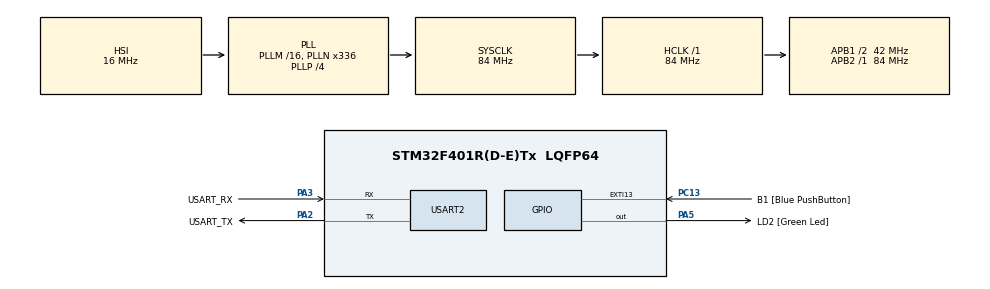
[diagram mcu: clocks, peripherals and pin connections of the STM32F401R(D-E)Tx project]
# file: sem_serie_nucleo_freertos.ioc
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FREERTOS.Tasks01=defaultTask,24,128,StartDefaultTask,Default,NULL,Dynamic,NULL,NULL
FREERTOS.configENABLE_FPU=0
Mcu.Family=STM32F4
Mcu.Name=STM32F401R(D-E)Tx
Mcu.Package=LQFP64
NVIC.PriorityGroup=NVIC_PRIORITYGROUP_4
NVIC.TIM1_UP_TIM10_IRQn=true\:0\:0\:false\:false\:true\:false\:false\:true
NVIC.TimeBase=TIM1_UP_TIM10_IRQn
NVIC.TimeBaseIP=TIM1
NVIC.USART2_IRQn=true\:6\:0\:true\:false\:true\:false\:true\:true
PA13.GPIO_Label=TMS
PA13.Mode=Serial_Wire
PA13.Signal=SYS_JTMS-SWDIO
PA14.GPIO_Label=TCK
PA14.Mode=Serial_Wire
PA14.Signal=SYS_JTCK-SWCLK
PA2.GPIO_Label=USART_TX
PA2.GPIO_Mode=GPIO_MODE_AF_PP
PA2.GPIO_PuPd=GPIO_NOPULL
PA2.GPIO_Speed=GPIO_SPEED_FREQ_LOW
PA2.Mode=Asynchronous
PA2.Signal=USART2_TX
PA3.GPIO_Label=USART_RX
PA3.GPIO_Mode=GPIO_MODE_AF_PP
PA3.GPIO_PuPd=GPIO_NOPULL
PA3.GPIO_Speed=GPIO_SPEED_FREQ_LOW
PA3.Mode=Asynchronous
PA3.Signal=USART2_RX
PA5.GPIO_Label=LD2 [Green Led]
PA5.GPIO_Mode=GPIO_MODE_OUTPUT_PP
PA5.GPIO_PuPd=GPIO_NOPULL
PA5.GPIO_Speed=GPIO_SPEED_FREQ_LOW
PA5.Signal=GPIO_Output
PB3.GPIO_Label=SWO
PB3.Signal=SYS_JTDO-SWO
PC13-ANTI_TAMP.GPIO_Label=B1 [Blue PushButton]
PC13-ANTI_TAMP.GPIO_ModeDefaultEXTI=GPIO_MODE_IT_FALLING
PC13-ANTI_TAMP.GPIO_PuPd=GPIO_NOPULL
PC13-ANTI_TAMP.Signal=GPXTI13
PC14-OSC32_IN.Mode=LSE-External-Oscillator
PC14-OSC32_IN.Signal=RCC_OSC32_IN
PC15-OSC32_OUT.Mode=LSE-External-Oscillator
PC15-OSC32_OUT.Signal=RCC_OSC32_OUT
PH0\ -\ OSC_IN.Mode=HSE-External-Clock-Source
PH0\ -\ OSC_IN.Signal=RCC_OSC_IN
PH1\ -\ OSC_OUT.Mode=HSE-External-Clock-Source
PH1\ -\ OSC_OUT.Signal=RCC_OSC_OUT
ProjectManager.HeapSize=0x200
ProjectManager.StackSize=0x400
ProjectManager.TargetToolchain=STM32CubeIDE
RCC.48MHZClocksFreq_Value=48000000
RCC.AHBFreq_Value=84000000
RCC.APB1CLKDivider=RCC_HCLK_DIV2
RCC.APB1Freq_Value=42000000
RCC.APB1TimFreq_Value=84000000
RCC.APB2Freq_Value=84000000
RCC.APB2TimFreq_Value=84000000
RCC.CortexFreq_Value=84000000
RCC.HCLKFreq_Value=84000000
RCC.HSE_VALUE=8000000
RCC.HSI_VALUE=16000000
RCC.PLLN=336
RCC.PLLP=RCC_PLLP_DIV4
RCC.PLLQ=7
RCC.SYSCLKFreq_VALUE=84000000
RCC.SYSCLKSource=RCC_SYSCLKSOURCE_PLLCLK
RCC.VCOOutputFreq_Value=336000000
USART2.VirtualMode=VM_ASYNC
VP_FREERTOS_VS_CMSIS_V2.Mode=CMSIS_V2
VP_SYS_VS_tim1.Mode=TIM1
board=NUCLEO-F401RE

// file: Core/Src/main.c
/* USER CODE BEGIN Header */
/**
  ******************************************************************************
  * @file           : main.c
  * @brief          : Main program body
  ******************************************************************************
  * @attention
  *
  * <h2><center>&copy; Copyright (c) 2021 STMicroelectronics.
  * All rights reserved.</center></h2>
  *
  * This software component is licensed by ST under BSD 3-Clause license,
  * the "License"; You may not use this file except in compliance with the
  * License. You may obtain a copy of the License at:
  *                        opensource.org/licenses/BSD-3-Clause
  *
  ******************************************************************************
  */
/* USER CODE END Header */
#include "main.h"
#include "cmsis_os.h"

/* USER CODE BEGIN Includes */
#include <ctype.h>
#include <stdio.h>
#include <string.h>
#include "task.h"
#include "arrebote.h"
#include "serie_freertos.h"
/* USER CODE END Includes */

/* USER CODE BEGIN PD */
#define TICS_LEDS		(125)
#define DEBOUNCE_BTN_MS	(20)
#define FALSE			(0)
#define TRUE			(!FALSE)
/* USER CODE END PD */

UART_HandleTypeDef huart2;

/* Definitions for defaultTask */
//osThreadId_t defaultTaskHandle;
//const osThreadAttr_t defaultTask_attributes = {
//  .name = "defaultTask",
//  .priority = (osPriority_t) osPriorityNormal,
//  .stack_size = 128 * 4
//};
/* USER CODE BEGIN PV */
	arrebote boton_b1;
/* USER CODE END PV */

void SystemClock_Config(void);
static void MX_GPIO_Init(void);
static void MX_USART2_UART_Init(void);
void StartDefaultTask(void *argument);

/* USER CODE BEGIN 0 */
void tarea_boton(void *p)
{
	uint32_t estado_led = 1;
	uint32_t tics_led = TICS_LEDS;
	inicializar_arrebote(&boton_b1, TRUE, DEBOUNCE_BTN_MS);
	for(;;)
	{
		chequear_arrebote(&boton_b1, HAL_GPIO_ReadPin(B1_GPIO_Port, B1_Pin));
		if(hay_flanco_arrebote(&boton_b1))
		{
			estado_led^=1;
		}
		if(!--tics_led)
		{
			tics_led = TICS_LEDS;
			if(estado_led)
				HAL_GPIO_TogglePin(LD2_GPIO_Port, LD2_Pin);
		}
		vTaskDelay(1/portTICK_RATE_MS);
	}
}

void tarea_serie(void *p)
{
	uint8_t dato;
	for(;;)
	{
		serieFreeRTOS_gets(&dato, 1);
		dato = toupper(dato);
		serieFreeRTOS_puts(&dato, 1);
	}
}

/* USER CODE END 0 */

int main(void)
{

  /* MCU Configuration--------------------------------------------------------*/

  /* Reset of all peripherals, Initializes the Flash interface and the Systick. */
  HAL_Init();

  /* Configure the system clock */
  SystemClock_Config();

  /* Initialize all configured peripherals */
  MX_GPIO_Init();
  MX_USART2_UART_Init();

  /* Init scheduler */
  osKernelInitialize();

  /* Create the thread(s) */
  /* creation of defaultTask */
  //defaultTaskHandle = osThreadNew(StartDefaultTask, NULL, &defaultTask_attributes);

  /* USER CODE BEGIN RTOS_THREADS */
  /* add threads, ... */
  serieFreeRTOS_inicializar(&huart2);

  xTaskCreate(	tarea_boton,
		  	  	"btn_b1",
				configMINIMAL_STACK_SIZE,
				NULL,
				tskIDLE_PRIORITY+1,
				NULL);

  xTaskCreate(	tarea_serie,
		  	  	"serie",
				configMINIMAL_STACK_SIZE*2,
				NULL,
				tskIDLE_PRIORITY+1,
				NULL);

  /* USER CODE END RTOS_THREADS */

  /* Start scheduler */
  osKernelStart();

  /* We should never get here as control is now taken by the scheduler */
  /* Infinite loop */
  while (1)
  {

  }
}

void SystemClock_Config(void)
{
  RCC_OscInitTypeDef RCC_OscInitStruct = {0};
  RCC_ClkInitTypeDef RCC_ClkInitStruct = {0};

  /** Configure the main internal regulator output voltage
  */
  __HAL_RCC_PWR_CLK_ENABLE();
  __HAL_PWR_VOLTAGESCALING_CONFIG(PWR_REGULATOR_VOLTAGE_SCALE2);
  /** Initializes the RCC Oscillators according to the specified parameters
  * in the RCC_OscInitTypeDef structure.
  */
  RCC_OscInitStruct.OscillatorType = RCC_OSCILLATORTYPE_HSI;
  RCC_OscInitStruct.HSIState = RCC_HSI_ON;
  RCC_OscInitStruct.HSICalibrationValue = RCC_HSICALIBRATION_DEFAULT;
  RCC_OscInitStruct.PLL.PLLState = RCC_PLL_ON;
  RCC_OscInitStruct.PLL.PLLSource = RCC_PLLSOURCE_HSI;
  RCC_OscInitStruct.PLL.PLLM = 16;
  RCC_OscInitStruct.PLL.PLLN = 336;
  RCC_OscInitStruct.PLL.PLLP = RCC_PLLP_DIV4;
  RCC_OscInitStruct.PLL.PLLQ = 7;
  if (HAL_RCC_OscConfig(&RCC_OscInitStruct) != HAL_OK)
  {
    Error_Handler();
  }
  /** Initializes the CPU, AHB and APB buses clocks
  */
  RCC_ClkInitStruct.ClockType = RCC_CLOCKTYPE_HCLK|RCC_CLOCKTYPE_SYSCLK
                              |RCC_CLOCKTYPE_PCLK1|RCC_CLOCKTYPE_PCLK2;
  RCC_ClkInitStruct.SYSCLKSource = RCC_SYSCLKSOURCE_PLLCLK;
  RCC_ClkInitStruct.AHBCLKDivider = RCC_SYSCLK_DIV1;
  RCC_ClkInitStruct.APB1CLKDivider = RCC_HCLK_DIV2;
  RCC_ClkInitStruct.APB2CLKDivider = RCC_HCLK_DIV1;

  if (HAL_RCC_ClockConfig(&RCC_ClkInitStruct, FLASH_LATENCY_2) != HAL_OK)
  {
    Error_Handler();
  }
}

static void MX_USART2_UART_Init(void)
{

  huart2.Instance = USART2;
  huart2.Init.BaudRate = 4800;
  huart2.Init.WordLength = UART_WORDLENGTH_8B;
  huart2.Init.StopBits = UART_STOPBITS_1;
  huart2.Init.Parity = UART_PARITY_NONE;
  huart2.Init.Mode = UART_MODE_TX_RX;
  huart2.Init.HwFlowCtl = UART_HWCONTROL_NONE;
  huart2.Init.OverSampling = UART_OVERSAMPLING_16;
  if (HAL_UART_Init(&huart2) != HAL_OK)
  {
    Error_Handler();
  }

}

static void MX_GPIO_Init(void)
{
  GPIO_InitTypeDef GPIO_InitStruct = {0};

  /* GPIO Ports Clock Enable */
  __HAL_RCC_GPIOC_CLK_ENABLE();
  __HAL_RCC_GPIOH_CLK_ENABLE();
  __HAL_RCC_GPIOA_CLK_ENABLE();
  __HAL_RCC_GPIOB_CLK_ENABLE();

  /*Configure GPIO pin Output Level */
  HAL_GPIO_WritePin(LD2_GPIO_Port, LD2_Pin, GPIO_PIN_RESET);

  /*Configure GPIO pin : B1_Pin */
  GPIO_InitStruct.Pin = B1_Pin;
  GPIO_InitStruct.Mode = GPIO_MODE_IT_FALLING;
  GPIO_InitStruct.Pull = GPIO_NOPULL;
  HAL_GPIO_Init(B1_GPIO_Port, &GPIO_InitStruct);

  /*Configure GPIO pin : LD2_Pin */
  GPIO_InitStruct.Pin = LD2_Pin;
  GPIO_InitStruct.Mode = GPIO_MODE_OUTPUT_PP;
  GPIO_InitStruct.Pull = GPIO_NOPULL;
  GPIO_InitStruct.Speed = GPIO_SPEED_FREQ_LOW;
  HAL_GPIO_Init(LD2_GPIO_Port, &GPIO_InitStruct);

}

void StartDefaultTask(void *argument)
{
  for(;;)
  {
    osDelay(1);
  }
}

void HAL_TIM_PeriodElapsedCallback(TIM_HandleTypeDef *htim)
{
  if (htim->Instance == TIM1) {
    HAL_IncTick();
  }
}

void Error_Handler(void)
{
}

/************************ (C) COPYRIGHT STMicroelectronics *****END OF FILE****/
